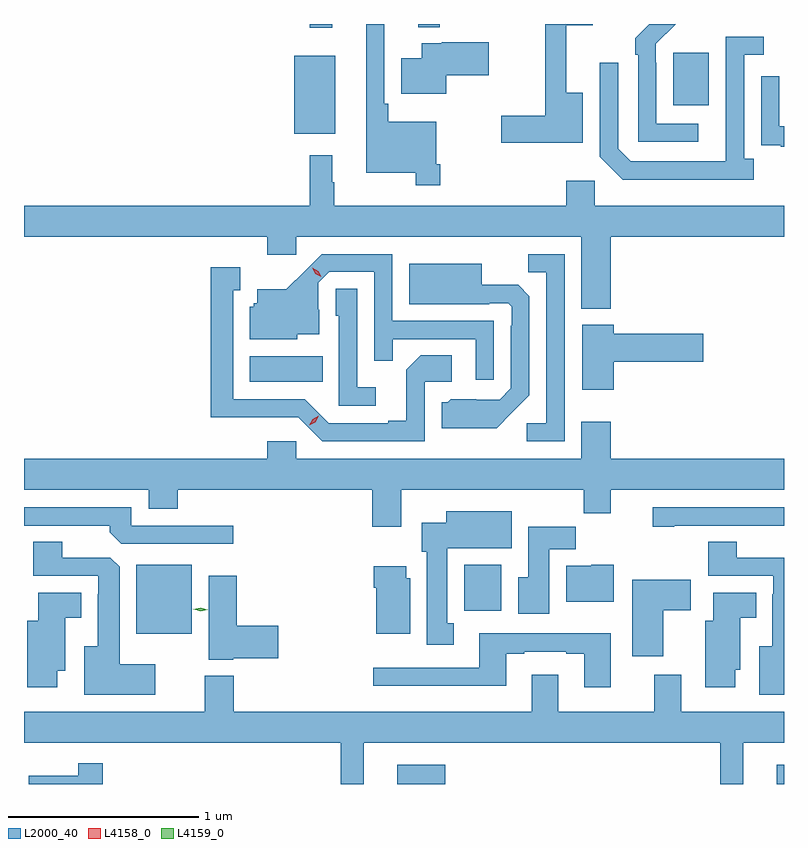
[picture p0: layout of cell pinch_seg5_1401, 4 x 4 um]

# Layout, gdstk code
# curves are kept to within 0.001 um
import gdstk
lib = gdstk.Library(unit=1e-6, precision=1e-09)
def R(c, l, rs):  # rectangles x0, y0, x1, y1
    for r in rs: c.add(gdstk.rectangle(r[:2], r[2:], *l))
def P(c, l, *ps):  # polygons
    for p in ps: c.add(gdstk.Polygon(p, *l))
L2000_40 = (2000, 40)
L4158_0 = (4158, 0)
L4159_0 = (4159, 0)

pinch_seg5_1401 = lib.new_cell('pinch_seg5_1401')
R(pinch_seg5_1401, L2000_40, [(138.149,911.156,138.4,911.257), (140.147,911.156,140.184,911.257), (136.775,911.948,137.068,912.31), (138.5,912.068,138.697,912.31), (137.372,913.274,137.756,913.408), (137.606,914.579,137.821,914.989), (139.601,914.729,139.789,915.004), (137.689,915.135,137.807,915.156), (138.26,915.14,138.372,915.156)])
P(pinch_seg5_1401, L2000_40, [(138.374,914.419),(138.354,914.419),(138.354,914.641),(138.101,914.641),(138.101,914.737),(138.081,914.737),(138.081,915.156),(137.984,915.156),(137.984,914.372),(138.246,914.372),(138.246,914.307),(138.374,914.307)],
  [(139.126,914.794),(139.037,914.794),(139.037,915.15),(139.177,915.15),(139.177,915.156),(138.927,915.156),(138.927,914.672),(138.696,914.672),(138.696,914.53),(139.126,914.53)],
  [(139.732,914.631),(139.512,914.631),(139.512,914.951),(139.509,914.951),(139.509,915.051),(139.614,915.156),(139.476,915.156),(139.401,915.081),(139.401,914.993),(139.416,914.993),(139.416,914.535),(139.732,914.535)],
  [(140.026,914.446),(139.974,914.446),(139.974,914.994),(140.077,914.994),(140.077,915.09),(139.878,915.09),(139.877,914.433),(139.377,914.433),(139.311,914.499),(139.311,914.953),(139.215,914.953),(139.215,914.457),(139.336,914.336),(140.026,914.336)],
  [(138.406,914.885),(138.631,914.885),(138.631,915.06),(138.382,915.06),(138.382,915.055),(138.278,915.055),(138.278,914.977),(138.17,914.977),(138.17,914.789),(138.406,914.789)],
  [(140.184,914.619),(140.16,914.619),(140.16,914.881),(140.064,914.881),(140.064,914.626),(140.065,914.626),(140.065,914.517),(140.167,914.517),(140.167,914.511),(140.184,914.511)],
  [(139.271,914.036),(140.184,914.036),(140.184,914.2),(139.188,914.2),(139.188,914.332),(139.037,914.332),(139.037,914.2),(137.818,914.2),(137.818,914.324),(137.806,914.324),(137.806,914.464),(137.689,914.464),(137.689,914.2),(136.184,914.2),(136.184,914.036),(137.465,914.036),(137.465,913.941),(137.616,913.941),(137.616,914.036),(139.118,914.036),(139.118,913.658),(139.271,913.658)],
  [(138.657,913.593),(138.123,913.593),(138.123,913.944),(137.75,913.944),(137.563,913.759),(137.411,913.759),(137.411,913.686),(137.394,913.686),(137.394,913.668),(137.372,913.668),(137.372,913.496),(137.622,913.496),(137.622,913.523),(137.737,913.523),(137.737,913.652),(137.733,913.652),(137.733,913.794),(137.79,913.851),(138.027,913.851),(138.027,913.384),(138.125,913.384),(138.125,913.497),(138.561,913.497),(138.561,913.284),(138.657,913.284)],
  [(139.029,913.944),(138.838,913.944),(138.838,913.849),(138.933,913.849),(138.933,913.056),(138.831,913.056),(138.831,912.96),(139.029,912.96)],
  [(138.751,913.109),(138.843,913.202),(138.843,913.724),(138.784,913.783),(138.592,913.783),(138.592,913.894),(138.212,913.894),(138.212,913.682),(138.632,913.682),(138.632,913.686),(138.732,913.686),(138.75,913.668),(138.75,913.568),(138.747,913.568),(138.747,913.239),(138.687,913.179),(138.43,913.18),(138.414,913.164),(138.383,913.164),(138.383,913.028),(138.671,913.028)],
  [(138.294,913.272),(138.436,913.272),(138.436,913.412),(138.271,913.412),(138.195,913.336),(138.195,913.069),(138.101,913.069),(138.101,913.056),(137.787,913.056),(137.661,913.182),(137.284,913.182),(137.284,913.755),(137.323,913.755),(137.323,913.876),(137.166,913.876),(137.166,913.085),(137.628,913.086),(137.754,912.96),(138.294,912.96)],
  [(138.034,913.243),(137.937,913.243),(137.937,913.763),(137.826,913.763),(137.826,913.62),(137.841,913.62),(137.841,913.146),(138.034,913.146)],
  [(139.288,913.379),(139.759,913.379),(139.759,913.526),(139.288,913.526),(139.288,913.573),(139.121,913.573),(139.121,913.23),(139.288,913.23)],
  [(138.169,912.704),(139.129,912.704),(139.129,912.58),(139.273,912.58),(139.273,912.704),(140.184,912.704),(140.184,912.868),(139.271,912.868),(139.271,913.063),(139.118,913.063),(139.118,912.868),(137.616,912.868),(137.616,912.961),(137.465,912.961),(137.465,912.868),(136.184,912.868),(136.184,912.704),(136.841,912.704),(136.841,912.605),(136.994,912.605),(136.994,912.704),(138.017,912.704),(138.017,912.51),(138.169,912.51)],
  [(139.606,912.516),(140.184,912.516),(140.184,912.612),(139.494,912.612),(139.494,912.511),(139.606,912.511)],
  [(137.284,912.516),(136.749,912.516),(136.749,912.612),(136.184,912.612),(136.184,912.516),(136.634,912.516),(136.634,912.482),(136.695,912.42),(137.284,912.42)],
  [(138.445,912.002),(138.412,912.002),(138.412,912.398),(138.751,912.398),(138.751,912.592),(138.407,912.592),(138.407,912.532),(138.278,912.532),(138.278,912.378),(138.305,912.378),(138.305,911.889),(138.445,911.889)],
  [(138.949,912.392),(139.088,912.392),(139.088,912.51),(138.839,912.51),(138.839,912.244),(138.785,912.244),(138.785,912.051),(138.949,912.051)],
  [(136.876,911.785),(136.687,911.785),(136.687,912.299),(136.638,912.348),(136.384,912.348),(136.384,912.431),(136.232,912.431),(136.232,912.252),(136.575,912.252),(136.575,912.155),(136.571,912.155),(136.571,911.881),(136.502,911.881),(136.502,911.627),(136.876,911.627)],
  [(140.184,912.348),(139.936,912.348),(139.936,912.431),(139.784,912.431),(139.784,912.252),(140.127,912.252),(140.127,912.155),(140.123,912.155),(140.123,911.881),(140.054,911.881),(140.054,911.627),(140.184,911.627)],
  [(139.288,912.31),(139.17,912.31),(139.17,912.304),(139.037,912.304),(139.037,912.116),(139.288,912.116)],
  [(138.217,912.24),(138.196,912.24),(138.196,912.301),(138.026,912.301),(138.026,912.188),(138.038,912.188),(138.038,911.948),(138.217,911.948)],
  [(137.286,911.819),(137.521,911.819),(137.521,911.99),(137.303,911.99),(137.303,912.253),(137.156,912.253),(137.156,911.81),(137.286,911.81)],
  [(139.549,912.07),(139.693,912.07),(139.693,912.232),(139.385,912.232),(139.385,911.829),(139.549,911.829)],
  [(136.36,911.753),(136.402,911.753),(136.402,912.032),(136.486,912.032),(136.486,912.163),(136.259,912.163),(136.259,912.016),(136.202,912.016),(136.202,911.664),(136.36,911.664)],
  [(139.927,911.757),(139.954,911.757),(139.954,912.032),(140.038,912.032),(140.038,912.163),(139.811,912.163),(139.811,912.016),(139.769,912.016),(139.769,911.664),(139.927,911.664)],
  [(139.273,911.95),(139.045,911.95),(139.045,911.949),(138.581,911.949),(138.581,911.769),(138.021,911.769),(138.021,911.672),(138.721,911.672),(138.721,911.841),(138.817,911.841),(138.817,911.853),(139.037,911.853),(139.037,911.841),(139.133,911.841),(139.133,911.664),(139.273,911.664)],
  [(137.971,911.372),(139.848,911.372),(139.848,911.156),(139.969,911.156),(139.969,911.372),(140.184,911.372),(140.184,911.536),(139.642,911.536),(139.642,911.731),(139.502,911.731),(139.502,911.536),(138.997,911.536),(138.997,911.731),(138.857,911.731),(138.857,911.536),(137.288,911.536),(137.288,911.725),(137.135,911.725),(137.135,911.536),(136.184,911.536),(136.184,911.372),(137.85,911.372),(137.85,911.156),(137.971,911.156)],
  [(136.598,911.266),(136.47,911.266),(136.47,911.2),(136.208,911.2),(136.208,911.156),(136.598,911.156)])
P(pinch_seg5_1401, L4158_0, [(137.749,913.826),(137.718,913.842),(137.701,913.872),(137.701,913.872),(137.701,913.872),(137.732,913.856),(137.749,913.827),(137.749,913.826)],
  [(137.686,913.043),(137.686,913.043),(137.704,913.075),(137.736,913.094),(137.736,913.094),(137.736,913.093),(137.718,913.061),(137.686,913.043)])
P(pinch_seg5_1401, L4159_0, [(137.113,912.064),(137.075,912.075),(137.074,912.075),(137.075,912.075),(137.113,912.084),(137.151,912.073),(137.152,912.073),(137.151,912.073)])

lib.write_gds('pinch_seg5_1401.gds')
